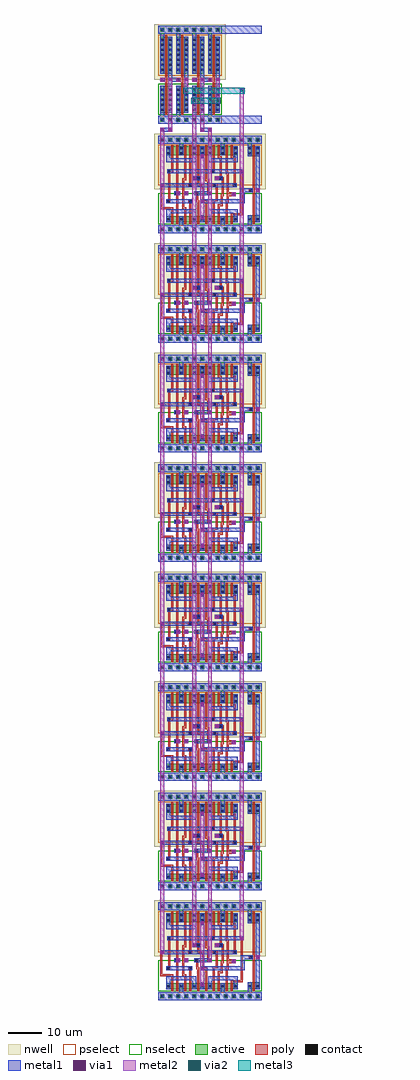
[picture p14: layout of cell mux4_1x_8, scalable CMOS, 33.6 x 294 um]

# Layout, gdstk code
import gdstk
lib = gdstk.Library(unit=1e-6, precision=1e-09)
def R(c, l, rs):  # rectangles x0, y0, x1, y1
    for r in rs: c.add(gdstk.rectangle(r[:2], r[2:], *l))
def A(c, l, x, y, w, h, nx, ny, dx, dy):  # array of equal rectangles
    R(c, l, [(x+i*dx, y+j*dy, x+i*dx+w, y+j*dy+h) for i in range(nx) for j in range(ny)])
def P(c, l, *ps):  # polygons
    for p in ps: c.add(gdstk.Polygon(p, *l))
contact = (25, 0)
nwell = (42, 0)
active = (43, 0)
pselect = (44, 0)
nselect = (45, 0)
poly = (46, 0)
metal1 = (49, 0)
via1 = (50, 0)
metal2 = (51, 0)
via2 = (61, 0)
metal3 = (62, 0)

invbuf_4x = lib.new_cell('invbuf_4x')
A(invbuf_4x, contact, 0.9, -0.3, 0.6, 0.6, 4, 2, 2.4, 3)
A(invbuf_4x, contact, 0.9, 4.2, 0.6, 0.6, 4, 4, 2.4, 1.5)
A(invbuf_4x, contact, 0.9, 14.7, 0.6, 0.6, 4, 7, 2.4, 1.5)
A(invbuf_4x, contact, 0.9, 26.7, 0.6, 0.6, 4, 1, 2.4, 0)
R(invbuf_4x, contact, [(0.9,11.7,1.5,12.3), (5.7,11.7,6.3,12.3)])
R(invbuf_4x, nwell, [(-1.2,12,6,28.8), (3.6,12,10.8,28.8)])
A(invbuf_4x, active, 0.6, -0.6, 1.2, 1.2, 4, 2, 2.4, 27)
R(invbuf_4x, active, [(0.6,2.1,4.2,10.2), (5.4,2.1,9,10.2), (0.6,13.8,4.2,24.9), (5.4,13.8,9,24.9)])
R(invbuf_4x, pselect, [(0,-1.2,4.8,1.2), (4.8,-1.2,9.6,1.2), (0,13.2,4.8,25.5), (4.8,13.2,9.6,25.5)])
R(invbuf_4x, nselect, [(0,1.5,4.8,10.8), (4.8,1.5,9.6,10.8), (0,25.8,4.8,28.2), (4.8,25.8,9.6,28.2)])
P(invbuf_4x, poly, [(7.5,25.5),(6.9,25.5),(6.9,12.6),(5.4,12.6),(5.4,11.4),(6.9,11.4),(6.9,1.5),(7.5,1.5)],
  [(2.7,25.5),(2.1,25.5),(2.1,12.6),(0.6,12.6),(0.6,11.4),(2.1,11.4),(2.1,1.5),(2.7,1.5)])
R(invbuf_4x, metal1, [(0,-1.2,9.6,1.2), (0,-1.2,4.8,1.2), (4.8,-1.2,9.6,1.2), (3,2.1,4.2,24.9), (7.8,2.1,9,24.9), (0.6,11.4,1.8,12.6), (3,11.4,6.6,12.6), (0,25.8,9.6,28.2), (0,25.8,4.8,28.2), (4.8,25.8,9.6,28.2)])
P(invbuf_4x, metal1, [(9.6,1.2),(6.6,1.2),(6.6,10.2),(5.4,10.2),(5.4,1.2),(4.8,1.2),(4.8,-1.2),(9.6,-1.2)],
  [(9.6,28.2),(4.8,28.2),(4.8,25.8),(5.4,25.8),(5.4,13.8),(6.6,13.8),(6.6,25.8),(9.6,25.8)],
  [(4.8,1.2),(1.8,1.2),(1.8,10.2),(0.6,10.2),(0.6,1.2),(0,1.2),(0,-1.2),(4.8,-1.2)],
  [(4.8,28.2),(0,28.2),(0,25.8),(0.6,25.8),(0.6,13.8),(1.8,13.8),(1.8,25.8),(4.8,25.8)])
R(invbuf_4x, via1, [(0.9,11.7,1.5,12.3), (3.3,11.7,3.9,12.3), (8.1,11.7,8.7,12.3)])
R(invbuf_4x, metal2, [(0.6,11.4,1.8,12.6), (0.6,11.4,1.8,12.6), (0.6,11.4,1.8,12.6), (0.6,11.4,2.1,12.6), (3,11.4,4.2,12.6), (3,11.4,4.2,12.6), (3,11.4,4.2,12.6), (5.4,11.4,6.6,12.6), (5.4,11.4,6.6,12.6), (7.8,11.4,9,12.6), (7.8,11.4,9,12.6), (7.8,11.4,9,12.6)])

mux4_dp_1x = lib.new_cell('mux4_dp_1x')
A(mux4_dp_1x, contact, 0.9, -0.3, 0.6, 0.6, 13, 2, 2.4, 27)
A(mux4_dp_1x, contact, 2.7, 2.7, 0.6, 0.6, 3, 2, 3.9, 19.8)
A(mux4_dp_1x, contact, 15.3, 2.7, 0.6, 0.6, 3, 2, 3.9, 19.8)
A(mux4_dp_1x, contact, 5.1, 10.5, 0.6, 0.6, 3, 1, 3, 0)
A(mux4_dp_1x, contact, 2.7, 24, 0.6, 0.6, 3, 1, 3.9, 0)
A(mux4_dp_1x, contact, 15.3, 24, 0.6, 0.6, 3, 1, 3.9, 0)
R(mux4_dp_1x, contact, [(12.9,2.7,13.5,3.3), (27.3,2.7,27.9,3.3), (29.7,2.7,30.3,3.3), (2.7,8.1,3.3,8.7), (9.3,8.1,9.9,8.7), (22.5,10.2,23.1,10.8), (15.3,10.5,15.9,11.1), (27.6,11.4,28.2,12), (0.9,12.9,1.5,13.5), (9.3,12.9,9.9,13.5), (16.8,12.9,17.4,13.5), (22.8,12.9,23.4,13.5), (11.7,15,12.3,15.6), (18.6,15,19.2,15.6), (3,17.1,3.6,17.7), (16.2,17.1,16.8,17.7), (24.9,17.1,25.5,17.7), (12.9,22.5,13.5,23.1), (27.3,22.5,27.9,23.1), (29.7,22.5,30.3,23.1), (12.9,24,13.5,24.6), (27.3,24,27.9,24.6), (29.7,24,30.3,24.6)])
R(mux4_dp_1x, nwell, [(-1.2,12,32.4,28.8)])
A(mux4_dp_1x, active, 0.6, -0.6, 1.2, 1.2, 13, 2, 2.4, 27)
R(mux4_dp_1x, active, [(2.4,2.1,24,3.9), (27,2.1,30.6,4.2), (27,21.9,30.6,24.9), (2.4,22.2,24,24.9), (2.4,22.2,24,24.9)])
R(mux4_dp_1x, pselect, [(0,-1.2,31.2,1.2), (0,13.2,31.2,25.5)])
R(mux4_dp_1x, nselect, [(0,1.5,31.2,10.8), (0,25.8,31.2,28.2)])
R(mux4_dp_1x, poly, [(3.9,1.5,4.5,6.6), (5.4,1.5,6,25.5), (7.8,1.5,8.4,6.6), (9.3,1.5,9.9,9), (11.7,1.5,12.3,8.7), (14.1,1.5,14.7,8.7), (16.5,1.5,17.1,9), (18,1.5,18.6,7.5), (20.4,1.5,21,8.7), (21.9,1.5,22.5,4.8), (28.5,1.5,29.1,25.5), (22.5,4.2,25.5,4.8), (24.9,4.8,25.5,18), (0.6,6,3.9,6.6), (7.2,6,7.8,15.3), (0.6,6.6,1.2,13.8), (18.6,6.9,18.9,7.5), (18.9,6.9,19.5,10.5), (2.4,7.8,3,9), (3,7.8,3.6,16.8), (9,7.8,9.3,9), (9.9,7.8,10.2,9), (11.4,8.1,12,11.4), (13.2,8.1,13.8,13.5), (13.8,8.1,14.1,8.7), (20.7,8.1,21.3,17.1), (17.1,8.4,17.4,9), (17.4,8.4,18,13.5), (19.2,9.9,19.8,15.6), (21.3,9.9,22.2,11.1), (22.2,9.9,23.4,11.1), (4.8,10.2,5.4,11.4), (7.8,10.2,9,11.4), (10.8,10.2,11.4,11.4), (15,10.2,16.2,11.4), (14.7,10.5,15.3,15), (27.3,11.1,28.5,12.3), (1.2,12.6,1.8,13.8), (9,12.6,9.3,13.8), (9.3,12.6,9.9,25.5), (9.9,12.6,10.2,13.8), (16.5,12.6,17.7,13.8), (22.5,12.6,22.8,13.8), (22.8,12.6,23.4,21.9), (23.4,12.6,23.7,13.8), (11.7,12.9,12.3,25.5), (12.3,12.9,13.2,13.5), (14.1,14.4,14.7,25.5), (7.8,14.7,8.4,25.5), (11.4,14.7,12.6,15.9), (18.3,14.7,19.5,15.9), (18.6,15.9,19.2,21.9), (20.4,16.5,21,25.5), (2.7,16.8,3.9,18), (15.9,16.8,16.5,18), (16.5,16.8,17.1,25.5), (24.6,16.8,24.9,18), (25.5,16.8,25.8,18), (3.9,17.1,4.5,25.5), (18,21.3,18.6,25.5), (21.9,21.3,22.5,25.5), (22.5,21.3,22.8,21.9)])
R(mux4_dp_1x, metal1, [(0,-1.2,31.2,1.2), (0,-1.2,31.2,1.2), (6.3,1.2,7.5,3.9), (18.9,1.2,20.1,3.9), (27,1.2,28.2,4.2), (2.4,2.1,3.6,6), (10.2,2.1,11.4,6), (12.6,2.1,13.8,4.2), (15,2.1,16.2,6), (22.8,2.1,24,6), (29.4,2.1,30.6,24.9), (3.6,4.8,10.2,6), (16.2,4.8,22.8,6), (2.4,7.8,10.2,9), (12.6,7.8,26.1,9), (24.9,9,26.1,11.1), (22.2,9.9,23.4,11.1), (4.8,10.2,6.6,11.4), (7.8,10.2,9,11.4), (10.8,10.2,16.2,11.4), (24.9,11.1,28.5,12.3), (0.6,12.6,23.7,13.8), (10.2,14.7,12.6,15.9), (17.1,14.7,19.5,15.9), (2.7,16.8,25.8,18), (2.4,20.1,3.6,24.9), (3.6,20.1,10.2,21.3), (10.2,20.1,11.4,24.9), (15,20.1,16.2,24.9), (16.2,20.1,22.8,21.3), (22.8,20.1,24,24.9), (12.6,21.3,13.8,24.9), (27,21.9,28.2,25.8), (6.3,22.2,7.5,25.8), (15,22.2,16.2,24.9), (18.9,22.2,20.1,25.8), (0,25.8,31.2,28.2), (0,25.8,31.2,28.2)])
R(mux4_dp_1x, via1, [(12.9,3.3,13.5,3.9), (12.9,8.1,13.5,8.7), (22.5,10.2,23.1,10.8), (5.7,10.5,6.3,11.1), (8.1,10.5,8.7,11.1), (15.3,10.5,15.9,11.1), (29.7,11.4,30.3,12), (0.9,12.9,1.5,13.5), (10.5,15,11.1,15.6), (17.4,15,18,15.6), (24.9,17.1,25.5,17.7), (12.9,21.6,13.5,22.2)])
R(mux4_dp_1x, metal2, [(12.6,3,13.8,22.5), (22.2,9.9,23.4,11.1), (5.4,10.2,6.6,11.4), (7.8,10.2,9,11.4), (15,10.2,16.2,11.4), (29.4,11.1,30.6,12.3), (0.6,12.6,1.8,13.8), (10.2,14.7,11.4,15.9), (17.1,14.7,18.3,15.9), (24.6,16.8,25.8,18)])

mux4_1x_8 = lib.new_cell('mux4_1x_8')
R(mux4_1x_8, metal1, [(0,-1.2,31.2,1.2), (0,25.8,31.2,28.2), (0,31.8,31.2,34.2), (0,58.8,31.2,61.2), (0,64.8,31.2,67.2), (0,91.8,31.2,94.2), (0,97.8,31.2,100.2), (0,124.8,31.2,127.2), (0,130.8,31.2,133.2), (0,157.8,31.2,160.2), (0,163.8,31.2,166.2), (0,190.8,31.2,193.2), (0,196.8,31.2,199.2), (0,223.8,31.2,226.2), (0,229.8,31.2,232.2), (0,256.8,31.2,259.2), (0.6,260.4,4.2,261.6), (12.6,260.4,16.2,261.6), (0,262.8,31.2,265.2), (0,289.8,31.2,292.2)])
R(mux4_1x_8, via1, [(0.9,260.7,1.5,261.3), (3.3,260.7,3.9,261.3), (12.9,260.7,13.5,261.3), (15.3,260.7,15.9,261.3)])
A(mux4_1x_8, metal2, 22.2, 9.9, 1.2, 1.2, 1, 8, 0, 33)
A(mux4_1x_8, metal2, 5.4, 10.2, 1.2, 1.2, 1, 8, 0, 33)
A(mux4_1x_8, metal2, 7.8, 10.2, 1.2, 1.2, 1, 8, 0, 33)
A(mux4_1x_8, metal2, 29.4, 11.1, 1.2, 1.2, 1, 8, 0, 33)
A(mux4_1x_8, metal2, 17.1, 14.7, 1.2, 1.2, 1, 8, 0, 33)
R(mux4_1x_8, metal2, [(15,10.2,16.2,261.6), (0.6,12.6,1.8,261.6), (10.2,14.7,11.4,270.6), (24.6,16.8,25.8,273.3), (3,260.4,4.2,276.6), (12.6,260.4,13.8,276.6), (17.4,269.1,18.6,276.6), (7.8,272.1,9,276.6), (0.6,275.4,1.8,276.6), (10.2,275.4,11.4,276.6)])
R(mux4_1x_8, via2, [(10.5,269.4,11.1,270), (17.7,269.4,18.3,270), (8.1,272.4,8.7,273), (24.9,272.4,25.5,273)])
R(mux4_1x_8, metal3, [(9.9,268.8,18.9,270.6), (7.5,271.8,26.1,273.6)])
mux4_1x_8.add(gdstk.Reference(invbuf_4x, (0,264)))
mux4_1x_8.add(gdstk.Reference(invbuf_4x, (9.6,264)))
r = gdstk.Reference(mux4_dp_1x, (0,0)); r.repetition = gdstk.Repetition(1, 8, v1=(33.6,0), v2=(0,33)); mux4_1x_8.add(r)

lib.write_gds('mux4_1x_8.gds')
